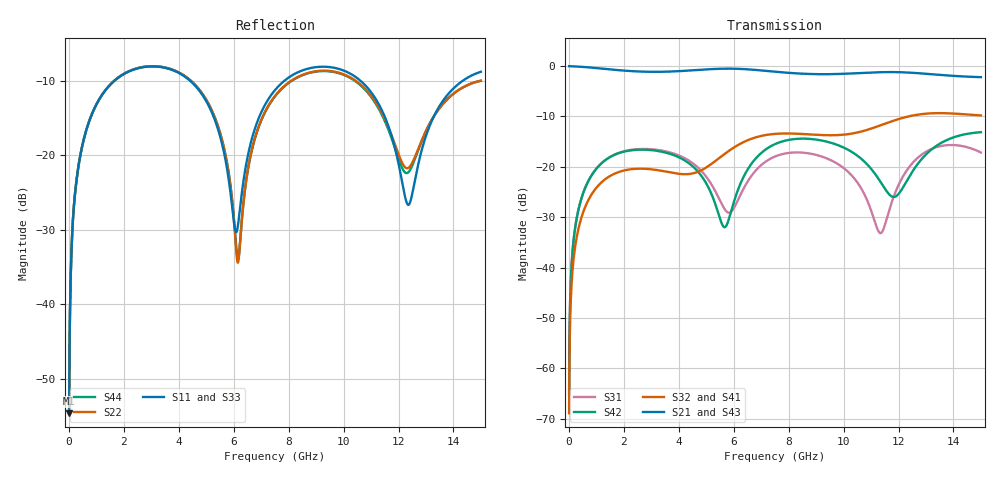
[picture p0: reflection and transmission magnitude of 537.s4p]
! Created with skrf 1.8.0 (http://scikit-rf.org).
# GHz S RI R 50.0
!freq ReS11 ImS11 ReS12 ImS12 ReS13 ImS13
! ReS14 ImS14
! ReS21 ImS21 ReS22 ImS22 ReS23 ImS23
! ReS24 ImS24
! ReS31 ImS31 ReS32 ImS32 ReS33 ImS33
! ReS34 ImS34
! ReS41 ImS41 ReS42 ImS42 ReS43 ImS43
! ReS44 ImS44
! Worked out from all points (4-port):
!   2499 points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, 5 MHz to 15 GHz, reference 50 ohm
!   strongest paths, dB at 5 MHz, 3.476 GHz, 7.19 GHz, 11.1 GHz, 15 GHz:
!     S21: 0.0, -1.1, -1.0, -1.3, -2.2
!     S43: 0.0, -1.1, -0.9, -1.2, -2.2
!     S32: -69.0, -20.9, -13.7, -12.2, -9.8
!     S41: -69.0, -20.9, -13.7, -12.2, -9.8
!     S42: -65.1, -17.1, -16.5, -21.1, -13.1
!     S31: -65.1, -16.9, -18.9, -30.2, -17.2
!   lowest |S11| = -54.7 dB at 5 MHz (marker M1), VSWR 1.00, Z = 50.1 + j0.112 ohm
!   |S11| at or under -10 dB: start of sweep to 1.647 GHz; 4.417 GHz to 7.837 GHz (3.42 GHz wide, 55.8 % of centre); 10.62 GHz to 14.33 GHz (3.708 GHz wide, 29.7 % of centre)
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0.005  0.00147 0.00112  0.9985 -0.00286  7.21e-05 0.00055  -7.03e-05 -0.00035
       0.9985 -0.00286  0.00147 0.00112  -7.03e-05 -0.00035  7.21e-05 0.00055
       7.21e-05 0.00055  -7.03e-05 -0.00035  0.00147 0.00112  0.9985 -0.00286
       -7.03e-05 -0.00035  7.21e-05 0.00055  0.9985 -0.00286  0.00147 0.00112
0.3626511  0.0249 0.085  0.9658 -0.2056  0.0113 0.0377  -0.00931 -0.0237
           0.9658 -0.2056  0.0249 0.085  -0.00931 -0.0237  0.011 0.0378
           0.0113 0.0377  -0.00931 -0.0237  0.0249 0.085  0.9658 -0.2056
           -0.00931 -0.0237  0.011 0.0378  0.9658 -0.2056  0.025 0.085
1.619545  0.2502 0.188  0.5929 -0.7043  0.1158 0.061  -0.0834 -0.0131
          0.5929 -0.7043  0.2509 0.1877  -0.0834 -0.0131  0.1127 0.0649
          0.1158 0.061  -0.0834 -0.0131  0.2502 0.1881  0.5929 -0.7043
          -0.0834 -0.0131  0.1127 0.0649  0.5929 -0.7043  0.251 0.1877
6.146311  0.0311 0.0116  -0.9388 -0.0449  -0.0281 0.0369  -0.00368 0.1639
          -0.9388 -0.0449  0.019 -0.000994  -0.00265 0.164  0.0412 0.0412
          -0.0281 0.0369  -0.00265 0.164  0.0305 0.0103  -0.9388 -0.0455
          -0.00368 0.1639  0.0412 0.0412  -0.9388 -0.0455  0.0197 -0.00221
9.50396  0.388 -0.0525  0.0172 0.8317  0.1086 -0.0448  0.1968 -0.0561
         0.0172 0.8317  0.3685 -0.0162  0.1972 -0.059  0.1149 -0.1311
         0.1086 -0.0448  0.1972 -0.059  0.3849 -0.0495  0.0175 0.8329
         0.1968 -0.0561  0.1149 -0.1311  0.0175 0.8329  0.3659 -0.0196
12.35515  0.0463 -0.00388  0.8585 0.0867  0.00486 0.0965  0.0259 -0.3154
          0.8585 0.0867  0.0823 0.00283  0.0206 -0.3153  -0.00112 0.0768
          0.00486 0.0965  0.0206 -0.3153  0.051 -0.000268  0.8588 0.0847
          0.0259 -0.3154  -0.00112 0.0768  0.8588 0.0847  0.0765 0.0064
15  0.3571 0.0717  0.2814 -0.7241  0.1367 -0.0229  -0.3173 -0.0632
    0.2814 -0.7241  0.3121 0.0562  -0.3185 -0.058  0.1707 -0.1399
    0.1367 -0.0229  -0.3185 -0.058  0.3575 0.067  0.2803 -0.7247
    -0.3173 -0.0632  0.1707 -0.1399  0.2803 -0.7247  0.3111 0.0594
